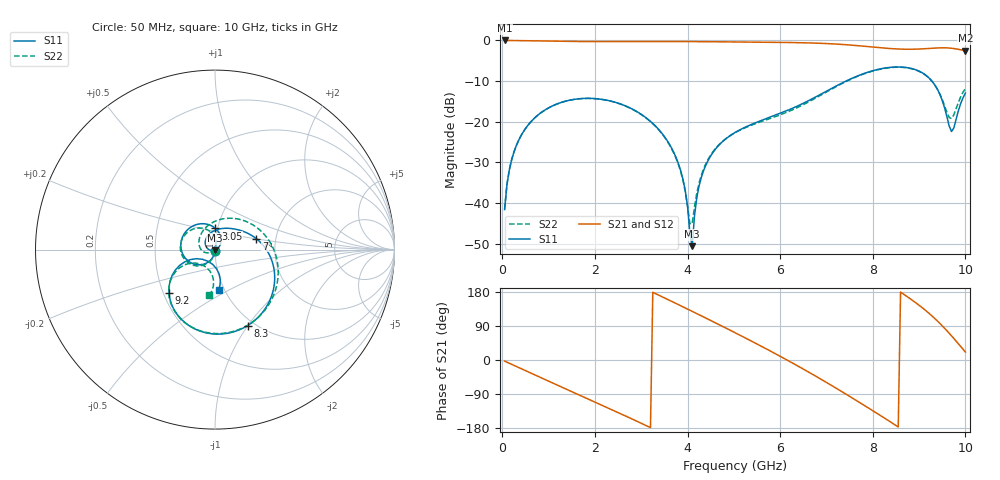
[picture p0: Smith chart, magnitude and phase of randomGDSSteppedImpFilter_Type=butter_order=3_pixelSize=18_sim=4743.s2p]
! freq	dB(S11)	phase(S11)	dB(S12)	phase(S12)
!  dB(S21)	phase(S21)	dB(S22)	phase(S22)
!S-par simulation data
#  GHz  S  DB  R 50
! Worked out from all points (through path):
!   200 points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, 50 MHz to 10 GHz, reference 50 ohm
!   highest |S21| = -0.01 dB at 50 MHz (marker M1); lowest = -2.6 dB at 10 GHz (marker M2)
!   group delay of S21, straight-line fit = 182 ps
!   lowest |S11| = -50.6 dB at 4.1 GHz (marker M3), VSWR 1.01, Z = 50 - j0.294 ohm
!   |S11| at or under -10 dB: start of sweep to 7.42 GHz; 9.276 GHz to end of sweep
!   |S22| runs from -45.1 to -6.6 dB; largest |S21 - S12| = 0
!   S11 on the Smith chart (normalised r, x): 50 MHz: 1.00, -0.02; 3.05 GHz: 0.98, +0.23; 7 GHz: 1.58, +0.21; 8.3 GHz: 0.93, -1.00; 9.2 GHz: 0.54, -0.29; 10 GHz: 0.94, -0.44
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0.05  -41.57 -93.7  -0.01 -2.9  -0.01 -2.9  -41.48 -93.0
0.2  -29.41 -102.5  -0.03 -11.3  -0.03 -11.3  -29.41 -101.4
0.5  -21.67 -119.8  -0.07 -28.1  -0.07 -28.1  -21.67 -117.4
1.15  -15.76 -157.6  -0.19 -64.1  -0.19 -64.1  -15.76 -151.9
1.75  -14.26 167.6  -0.28 -97.0  -0.28 -97.0  -14.27 176.8
3.05  -18.55 88.9  -0.27 -169.8  -0.27 -169.8  -18.60 110.6
3.4  -22.18 65.9  -0.26 169.9  -0.26 169.9  -22.27 93.7
3.85  -31.93 32.5  -0.27 143.4  -0.27 143.4  -32.16 78.3
4.1  -50.56 -97.5  -0.29 128.4  -0.29 128.4  -45.07 170.8
4.2  -38.67 -154.9  -0.30 122.5  -0.30 122.5  -37.49 -152.2
4.35  -31.89 -171.8  -0.31 113.4  -0.31 113.4  -31.47 -148.8
5.05  -22.47 133.9  -0.38 70.6  -0.38 70.6  -22.53 -177.6
5.95  -18.14 71.6  -0.47 13.1  -0.47 13.1  -18.50 129.3
6.7  -14.30 30.7  -0.64 -37.8  -0.64 -37.8  -14.59 69.0
7  -12.48 14.9  -0.77 -59.2  -0.77 -59.2  -12.68 42.9
7.6  -9.07 -20.1  -1.22 -103.4  -1.22 -103.4  -9.17 -8.5
8.3  -6.72 -66.9  -1.94 -156.9  -1.94 -156.9  -6.79 -65.2
8.35  -6.65 -70.4  -1.98 -160.8  -1.98 -160.8  -6.71 -69.1
8.8  -6.81 -104.0  -2.18 162.4  -2.18 162.4  -6.86 -105.1
9.2  -9.07 -136.8  -1.99 124.7  -1.99 124.7  -9.12 -137.4
9.7  -22.38 -121.4  -1.92 63.8  -1.92 63.8  -19.21 -117.8
10  -12.94 -84.9  -2.55 21.1  -2.55 21.1  -11.81 -97.1
